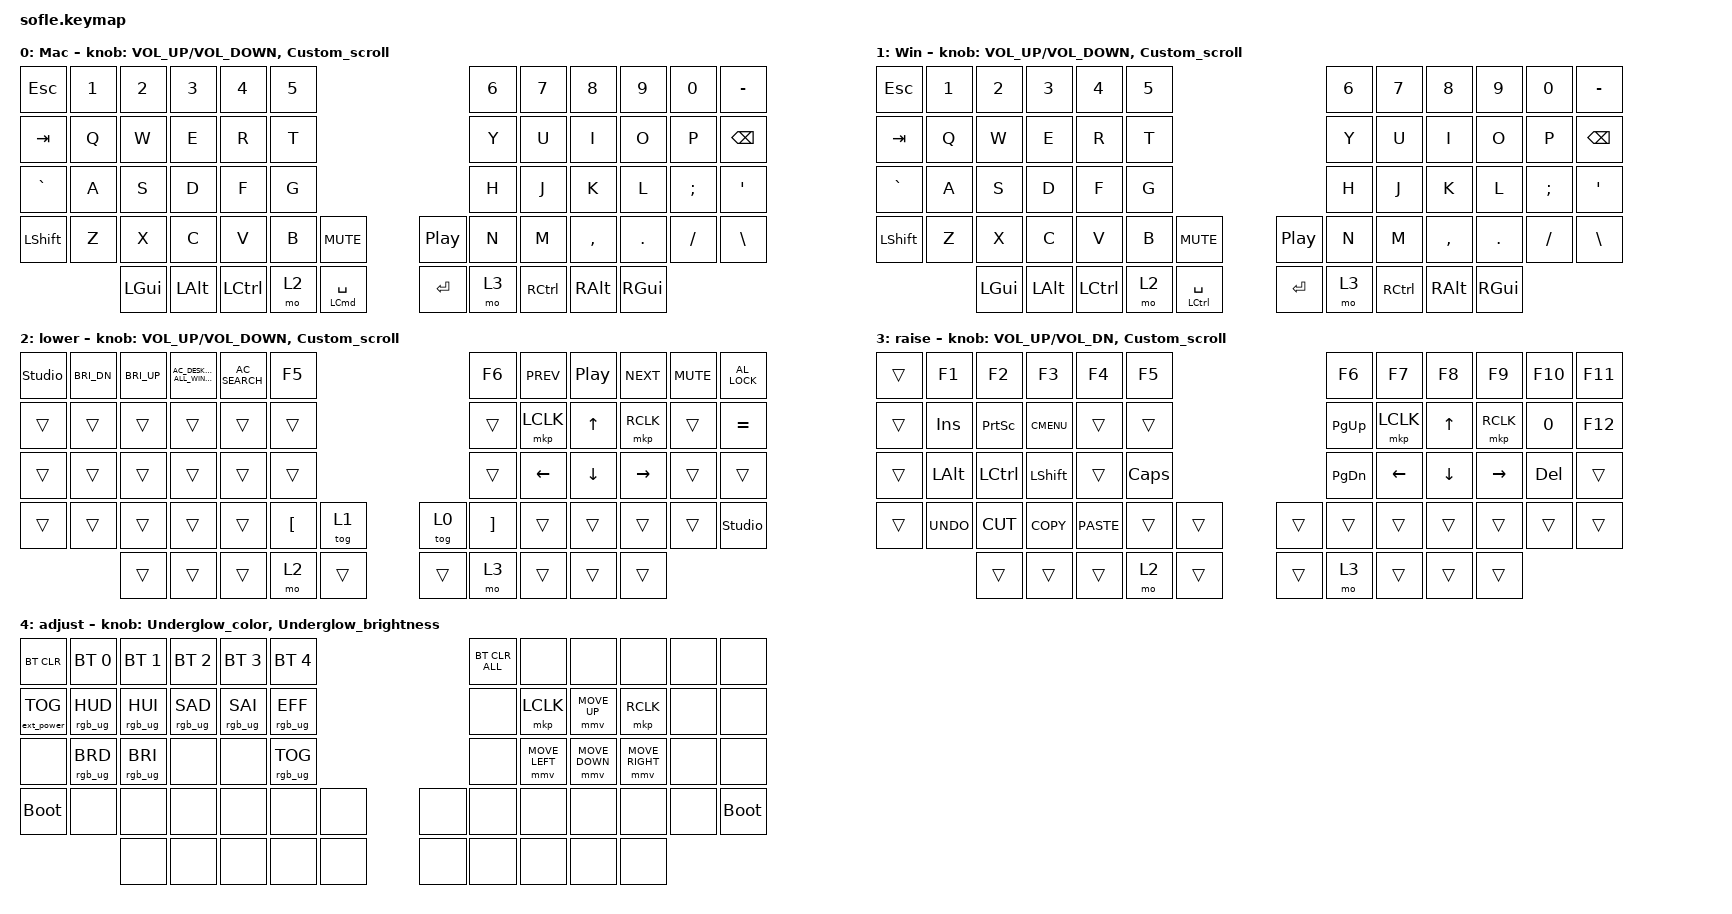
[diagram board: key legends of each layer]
/*
 * Copyright (c) 2020 The ZMK Contributors
 *
 * SPDX-License-Identifier: MIT
 */

#define ZMK_POINTING_DEFAULT_SCRL_VAL 140

#include "mouse.dtsi"
#include <behaviors.dtsi>
#include <dt-bindings/zmk/bt.h>
#include <dt-bindings/zmk/ext_power.h>
#include <dt-bindings/zmk/keys.h>
#include <dt-bindings/zmk/pointing.h>
#include <dt-bindings/zmk/rgb.h>

#define BASE 0
#define LOWER 1
#define RAISE 2
#define ADJUST 3

&mmv {
    acceleration-exponent = <1>;
    time-to-max-speed-ms = <400>;
};

/ {
    // Activate ADJUST layer by pressing raise and lower

    conditional_layers {
        compatible = "zmk,conditional-layers";

        adjust_layer {
            if-layers = <2 3>;
            then-layer = <4>;
        };
    };

    behaviors {
        Underglow_brightness: Underglow_brightness {
            compatible = "zmk,behavior-sensor-rotate";
            label = "UNDERGLOW_BRIGHTNESS";
            #sensor-binding-cells = <0>;
            bindings = <&rgb_ug RGB_BRI>, <&rgb_ug RGB_BRD>;
        };

        Underglow_color: Underglow_color {
            compatible = "zmk,behavior-sensor-rotate";
            label = "UNDERGLOW_COLOR";
            #sensor-binding-cells = <0>;
            bindings = <&rgb_ug RGB_HUI>, <&rgb_ug RGB_HUD>;
        };

        Custom_scroll: Custom_scroll {
            compatible = "zmk,behavior-sensor-rotate";
            label = "CUSTOM_SCROLL";
            #sensor-binding-cells = <0>;
            bindings = <&msc SCRL_UP>, <&msc SCRL_DOWN>;

            tap-ms = <20>;
        };

        ModTapBal: ModTapBal {
            compatible = "zmk,behavior-hold-tap";
            label = "MODTAPBAL";
            bindings = <&kp>, <&kp>;

            #binding-cells = <2>;
            tapping-term-ms = <400>;
            flavor = "balanced";
        };
    };

    keymap {
        compatible = "zmk,keymap";

        Mac {
            label = "Mac";

            // ------------------------------------------------------------------------------------------------------------
            // |   `   |  1  |  2  |  3   |  4   |  5   |                   |  6   |  7    |  8    |  9   |   0   |       |
            // |  ESC  |  Q  |  W  |  E   |  R   |  T   |                   |  Y   |  U    |  I    |  O   |   P   | BKSPC |
            // |  TAB  |  A  |  S  |  D   |  F   |  G   |                   |  H   |  J    |  K    |  L   |   ;   |   '   |
            // | SHIFT |  Z  |  X  |  C   |  V   |  B   |  MUTE  |  |       |  N   |  M    |  ,    |  .   |   /   | SHIFT |
            //               | GUI | ALT  | CTRL | LOWER|  ENTER |  | SPACE | RAISE| CTRL  | ALT   | GUI  |

            bindings = <
&kp ESC    &kp N1  &kp N2    &kp N3    &kp N4     &kp N5                                             &kp N6  &kp N7     &kp N8         &kp N9    &kp N0    &kp MINUS
&kp TAB    &kp Q   &kp W     &kp E     &kp R      &kp T                                              &kp Y   &kp U      &kp I          &kp O     &kp P     &kp BSPC
&kp GRAVE  &kp A   &kp S     &kp D     &kp F      &kp G                                              &kp H   &kp J      &kp K          &kp L     &kp SEMI  &kp SQT
&kp LSHFT  &kp Z   &kp X     &kp C     &kp V      &kp B   &kp C_MUTE               &kp C_PLAY_PAUSE  &kp N   &kp M      &kp COMMA      &kp DOT   &kp FSLH  &kp BACKSLASH
                   &kp LGUI  &kp LALT  &kp LCTRL  &mo 2   &ModTapBal LCMD SPACE    &kp RET           &mo 3   &kp RCTRL  &kp RIGHT_ALT  &kp RGUI
            >;

            sensor-bindings =
                <&inc_dec_kp C_VOLUME_UP C_VOLUME_DOWN>,
                <&Custom_scroll>;
        };

        Windows {
            label = "Win";
            bindings = <
&kp ESC    &kp N1  &kp N2    &kp N3    &kp N4     &kp N5                                              &kp N6  &kp N7     &kp N8         &kp N9    &kp N0    &kp MINUS
&kp TAB    &kp Q   &kp W     &kp E     &kp R      &kp T                                               &kp Y   &kp U      &kp I          &kp O     &kp P     &kp BSPC
&kp GRAVE  &kp A   &kp S     &kp D     &kp F      &kp G                                               &kp H   &kp J      &kp K          &kp L     &kp SEMI  &kp SQT
&kp LSHFT  &kp Z   &kp X     &kp C     &kp V      &kp B   &kp C_MUTE                &kp C_PLAY_PAUSE  &kp N   &kp M      &kp COMMA      &kp DOT   &kp FSLH  &kp BACKSLASH
                   &kp LGUI  &kp LALT  &kp LCTRL  &mo 2   &ModTapBal LCTRL SPACE    &kp RET           &mo 3   &kp RCTRL  &kp RIGHT_ALT  &kp RGUI
            >;

            sensor-bindings =
                <&inc_dec_kp C_VOLUME_UP C_VOLUME_DOWN>,
                <&Custom_scroll>;
        };

        lower_layer {
            label = "lower";

            // TODO: Some binds are waiting for shifted keycode support.
            // ------------------------------------------------------------------------------------------------------------
            // |       |  F1 |  F2 |  F3  |  F4  |  F5  |                   |  F6  |  F7   |  F8   |  F9  |  F10  |  F11  |
            // |   `   |  1  |  2  |  3   |  4   |  5   |                   |  6   |  7    |  8    |  9   |   0   |  F12  |
            // |       |  !  |  @  |  #   |  $   |  %   |                   |  ^   |  &    |  *    |  (   |   )   |   |   |
            // |       |  =  |  -  |  +   |  {   |  }   |        |  |       |  [   |  ]    |  ;    |  :   |   \   |       |
            //               |     |      |      |      |        |  |       |      |       |       |      |

            bindings = <
&studio_unlock  &kp C_BRI_DN  &kp C_BRI_UP  &kp C_AC_DESKTOP_SHOW_ALL_WINDOWS  &kp C_AC_SEARCH  &kp F5                              &kp F6             &kp C_PREV  &kp C_PP      &kp C_NEXT  &kp C_MUTE  &kp C_AL_LOCK
&trans          &trans        &trans        &trans                             &trans           &trans                              &trans             &mkp LCLK   &kp UP_ARROW  &mkp RCLK   &trans      &kp EQUAL
&trans          &trans        &trans        &trans                             &trans           &trans                              &trans             &kp LEFT    &kp DOWN      &kp RIGHT   &trans      &trans
&trans          &trans        &trans        &trans                             &trans           &kp LEFT_BRACKET  &tog 1    &tog 0  &kp RIGHT_BRACKET  &trans      &trans        &trans      &trans      &studio_unlock
                              &trans        &trans                             &trans           &mo 2             &trans    &trans  &mo 3              &trans      &trans        &trans
            >;

            sensor-bindings =
                <&inc_dec_kp C_VOLUME_UP C_VOLUME_DOWN>,
                <&Custom_scroll>;
        };

        raise_layer {
            label = "raise";

            // ------------------------------------------------------------------------------------------------------------
            // | BTCLR | BT1  | BT2  |  BT3  |  BT4  |  BT5 |                |      |      |       |      |       |       |
            // |       | INS  | PSCR | GUI   |       |      |                | PGUP |      |   ^   |      |       |       |
            // |       | ALT  | CTRL | SHIFT |       | CAPS |                | PGDN |   <- |   v   |  ->  |  DEL  | BKSPC |
            // |       | UNDO | CUT  | COPY  | PASTE |      |      |  |      |      |      |       |      |       |       |
            //                |      |       |       |      |      |  |      |      |      |       |      |

            bindings = <
&trans  &kp F1      &kp F2     &kp F3       &kp F4       &kp F5                      &kp F6     &kp F7     &kp F8    &kp F9     &kp F10  &kp F11
&trans  &kp INS     &kp PSCRN  &kp K_CMENU  &trans       &trans                      &kp PG_UP  &mkp LCLK  &kp UP    &mkp RCLK  &kp N0   &kp F12
&trans  &kp LALT    &kp LCTRL  &kp LSHFT    &trans       &kp CLCK                    &kp PG_DN  &kp LEFT   &kp DOWN  &kp RIGHT  &kp DEL  &trans
&trans  &kp K_UNDO  &kp K_CUT  &kp K_COPY   &kp K_PASTE  &trans    &trans    &trans  &trans     &trans     &trans    &trans     &trans   &trans
                    &trans     &trans       &trans       &mo 2     &trans    &trans  &mo 3      &trans     &trans    &trans
            >;

            sensor-bindings =
                <&inc_dec_kp C_VOLUME_UP C_VOL_DN>,
                <&Custom_scroll>;
        };

        adjust_layer {
            // ----------------------------------------------------------------------------------------------------------------------------
            // | BTCLR  |  BT1    |  BT2    |   BT3   |   BT4   |   BT5   |                  |      |      |       |      |       |       |
            // | EXTPWR | RGB_HUD | RGB_HUI | RGB_SAD | RGB_SAI | RGB_EFF |                  |      |      |       |      |       |       |
            // |        | RGB_BRD | RGB_BRI |         |         |         |                  |      |      |       |      |       |       |
            // |        |         |         |         |         |         | RGB_TOG | |      |      |      |       |      |       |       |
            //                    |         |         |         |         |         | |      |      |      |       |      |

            label = "adjust";
            bindings = <
&bt BT_CLR         &bt BT_SEL 0     &bt BT_SEL 1     &bt BT_SEL 2     &bt BT_SEL 3     &bt BT_SEL 4                     &bt BT_CLR_ALL  &none           &none           &none            &none  &none
&ext_power EP_TOG  &rgb_ug RGB_HUD  &rgb_ug RGB_HUI  &rgb_ug RGB_SAD  &rgb_ug RGB_SAI  &rgb_ug RGB_EFF                  &none           &mkp LCLK       &mmv MOVE_UP    &mkp RCLK        &none  &none
&none              &rgb_ug RGB_BRD  &rgb_ug RGB_BRI  &none            &none            &rgb_ug RGB_TOG                  &none           &mmv MOVE_LEFT  &mmv MOVE_DOWN  &mmv MOVE_RIGHT  &none  &none
&bootloader        &none            &none            &none            &none            &none            &none    &none  &none           &none           &none           &none            &none  &bootloader
                                    &none            &none            &none            &none            &none    &none  &none           &none           &none           &none
            >;

            sensor-bindings = <&Underglow_color>, <&Underglow_brightness>;
        };
    };
};
